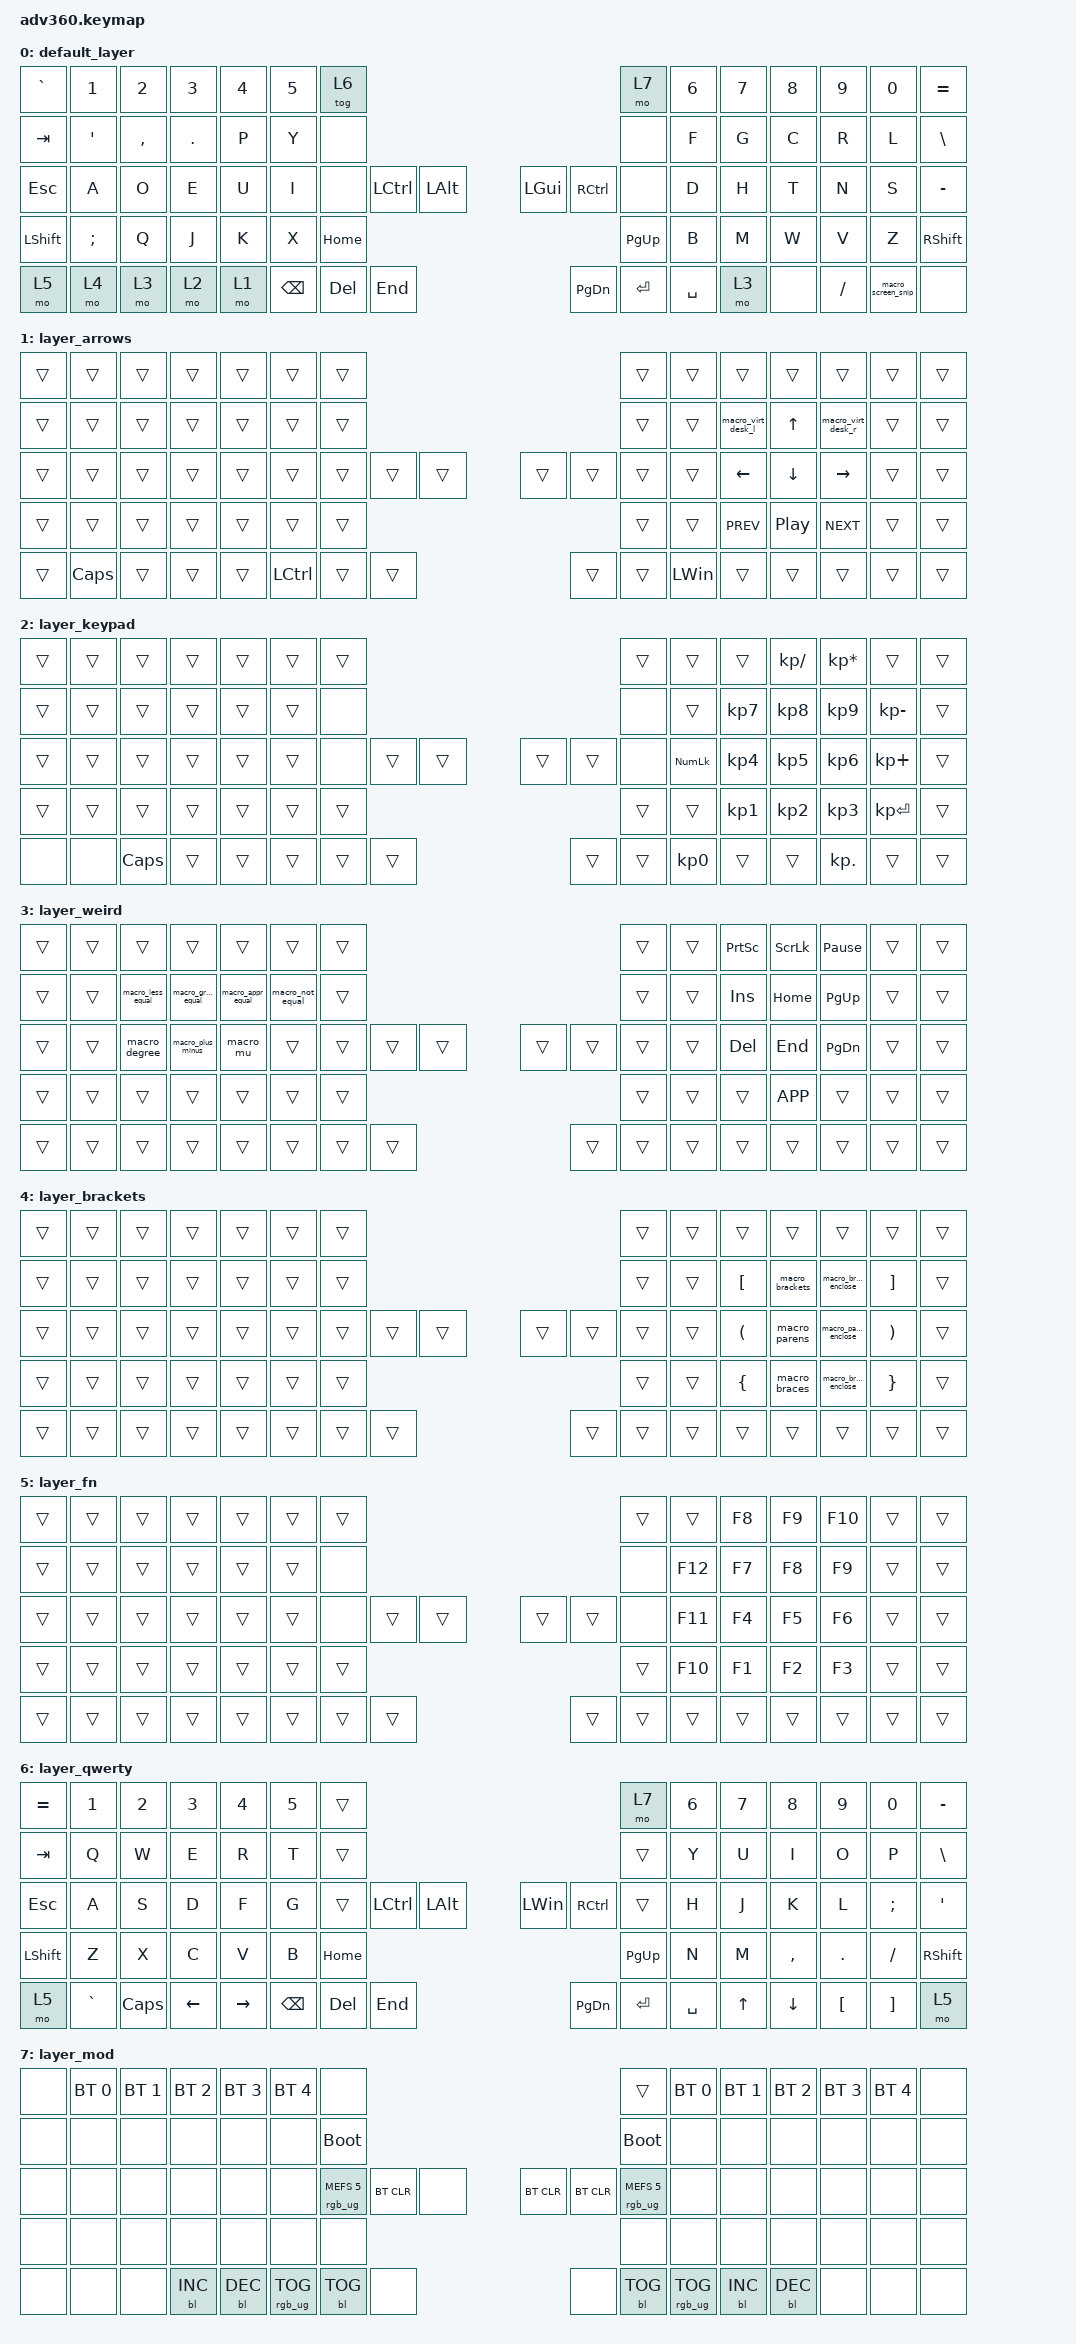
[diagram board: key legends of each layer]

/*
 * Copyright (c) 2020 The ZMK Contributors
 *
 * SPDX-License-Identifier: MIT
 */


/* THIS FILE WAS GENERATED!
 *
 * This file was generated automatically. You may or may not want to
 * edit it directly.
 */

#include <behaviors.dtsi>
#include <dt-bindings/zmk/keys.h>
#include <dt-bindings/zmk/bt.h>
#include <dt-bindings/zmk/rgb.h>
#include <dt-bindings/zmk/backlight.h>

/ {
  behaviors {
    #include "macros.dtsi"
      #include "version.dtsi"
      #ifndef VERSION_MACRO
      macro_ver: macro_ver {
        compatible = "zmk,behavior-macro";
        label = "macro_version";
        #binding-cells = <0>;
        bindings = <&kp RET>;
      };
      #endif

    hm: homerow_mods {
        compatible = "zmk,behavior-hold-tap";
        label = "HOMEROW_MODS";
        #binding-cells = <2>;
        tapping-term-ms = <200>;
        quick_tap_ms = <175>;
        flavor = "tap-preferred";
        bindings = <&kp>, <&kp>;
    };
  };

    keymap {
        compatible = "zmk,keymap";


        default_layer {
            bindings = <
&kp GRAVE         &kp N1    &kp N2     &kp N3 &kp N4 &kp N5   &tog 6                                                        &mo 7 &kp N6 &kp N7 &kp N8    &kp N9             &kp N0 &kp EQUAL 
  &kp TAB &kp APOSTROPHE &kp COMMA &kp PERIOD  &kp P  &kp Y    &none                                                        &none  &kp F  &kp G  &kp C     &kp R              &kp L  &kp BSLH 
  &kp ESC          &kp A     &kp O      &kp E  &kp U  &kp I    &none &kp LCTRL &kp LALT              &kp LGUI &kp RCTRL     &none  &kp D  &kp H  &kp T     &kp N              &kp S &kp MINUS 
&kp LSHFT  &kp SEMICOLON     &kp Q      &kp J  &kp K  &kp X                    &kp HOME             &kp PG_UP                      &kp B  &kp M  &kp W     &kp V              &kp Z &kp RSHFT 
    &mo 5          &mo 4     &mo 3      &mo 2  &mo 1        &kp BSPC   &kp DEL  &kp END             &kp PG_DN &kp ENTER &kp SPACE         &mo 3  &none &kp SLASH &macro_screen_snip     &none 
            >;
        };

        layer_arrows {
            bindings = <
&trans       &trans &trans &trans &trans &trans    &trans                                                 &trans &trans             &trans           &trans             &trans &trans &trans 
&trans       &trans &trans &trans &trans &trans    &trans                                                 &trans &trans &macro_virt_desk_l     &kp UP_ARROW &macro_virt_desk_r &trans &trans 
&trans       &trans &trans &trans &trans &trans    &trans &trans &trans               &trans &trans       &trans &trans     &kp LEFT_ARROW   &kp DOWN_ARROW    &kp RIGHT_ARROW &trans &trans 
&trans       &trans &trans &trans &trans &trans                  &trans               &trans                     &trans         &kp C_PREV &kp C_PLAY_PAUSE         &kp C_NEXT &trans &trans 
&trans &kp CAPSLOCK &trans &trans &trans        &kp LCTRL &trans &trans               &trans &trans &kp LEFT_WIN                    &trans           &trans             &trans &trans &trans 
            >;
        };

        layer_keypad {
            bindings = <
 &trans &trans   &trans &trans &trans &trans &trans                                            &trans         &trans          &trans &kp KP_DIVIDE &kp KP_MULTIPLY       &trans &trans 
 &trans &trans   &trans &trans &trans &trans  &none                                             &none         &trans &kp KP_NUMBER_7     &kp KP_N8       &kp KP_N9 &kp KP_MINUS &trans 
 &trans &trans   &trans &trans &trans &trans  &none &trans &trans             &trans &trans     &none &kp KP_NUMLOCK       &kp KP_N4     &kp KP_N5       &kp KP_N6  &kp KP_PLUS &trans 
 &trans &trans   &trans &trans &trans &trans               &trans             &trans                          &trans       &kp KP_N1     &kp KP_N2       &kp KP_N3 &kp KP_ENTER &trans 
  &none  &none &kp CAPS &trans &trans        &trans &trans &trans             &trans &trans &kp KP_N0                         &trans        &trans      &kp KP_DOT       &trans &trans 
            >;
        };

        layer_weird {
            bindings = <
 &trans &trans            &trans             &trans            &trans           &trans &trans                                           &trans &trans &kp PRINTSCREEN &kp SCROLLLOCK &kp PAUSE_BREAK &trans &trans 
 &trans &trans &macro_less_equal &macro_great_equal &macro_appr_equal &macro_not_equal &trans                                           &trans &trans      &kp INSERT       &kp HOME     &kp PAGE_UP &trans &trans 
 &trans &trans     &macro_degree  &macro_plus_minus         &macro_mu           &trans &trans &trans &trans               &trans &trans &trans &trans         &kp DEL        &kp END   &kp PAGE_DOWN &trans &trans 
 &trans &trans            &trans             &trans            &trans           &trans               &trans               &trans               &trans          &trans      &kp K_APP          &trans &trans &trans 
 &trans &trans            &trans             &trans            &trans                  &trans &trans &trans               &trans &trans &trans                 &trans         &trans          &trans &trans &trans 
            >;
        };

        layer_brackets {
            bindings = <
 &trans &trans &trans &trans &trans &trans &trans                                           &trans &trans               &trans          &trans                 &trans                &trans &trans 
 &trans &trans &trans &trans &trans &trans &trans                                           &trans &trans     &kp LEFT_BRACKET &macro_brackets &macro_bracket_enclose     &kp RIGHT_BRACKET &trans 
 &trans &trans &trans &trans &trans &trans &trans &trans &trans               &trans &trans &trans &trans &kp LEFT_PARENTHESIS   &macro_parens   &macro_paren_enclose &kp RIGHT_PARENTHESIS &trans 
 &trans &trans &trans &trans &trans &trans               &trans               &trans               &trans       &kp LEFT_BRACE   &macro_braces   &macro_brace_enclose       &kp RIGHT_BRACE &trans 
 &trans &trans &trans &trans &trans        &trans &trans &trans               &trans &trans &trans                      &trans          &trans                 &trans                &trans &trans 
            >;
        };

        layer_fn {
            bindings = <
 &trans &trans &trans &trans &trans &trans &trans                                         &trans  &trans &kp F8 &kp F9 &kp F10 &trans &trans 
 &trans &trans &trans &trans &trans &trans  &none                                          &none &kp F12 &kp F7 &kp F8  &kp F9 &trans &trans 
 &trans &trans &trans &trans &trans &trans  &none &trans &trans             &trans &trans  &none &kp F11 &kp F4 &kp F5  &kp F6 &trans &trans 
 &trans &trans &trans &trans &trans &trans               &trans             &trans               &kp F10 &kp F1 &kp F2  &kp F3 &trans &trans 
 &trans &trans &trans &trans &trans        &trans &trans &trans             &trans &trans &trans         &trans &trans  &trans &trans &trans 
            >;
        };

        layer_qwerty {
            bindings = <
      &kp EQUAL &kp NUMBER_1 &kp NUMBER_2 &kp NUMBER_3 &kp NUMBER_4 &kp NUMBER_5        &trans                                                                  &mo 7 &kp NUMBER_6 &kp NUMBER_7 &kp NUMBER_8     &kp NUMBER_9      &kp NUMBER_0       &kp MINUS 
        &kp TAB        &kp Q        &kp W        &kp E        &kp R        &kp T        &trans                                                                 &trans        &kp Y        &kp U        &kp I            &kp O             &kp P   &kp BACKSLASH 
        &kp ESC        &kp A        &kp S        &kp D        &kp F        &kp G        &trans  &kp LCTRL &kp LEFT_ALT               &kp LEFT_WIN &kp RCTRL    &trans        &kp H        &kp J        &kp K            &kp L     &kp SEMICOLON  &kp APOSTROPHE 
 &kp LEFT_SHIFT        &kp Z        &kp X        &kp C        &kp V        &kp B                              &kp HOME                  &kp PG_UP                            &kp N        &kp M    &kp COMMA       &kp PERIOD         &kp SLASH &kp RIGHT_SHIFT 
          &mo 5    &kp GRAVE &kp CAPSLOCK     &kp LEFT    &kp RIGHT              &kp BACKSPACE &kp DELETE      &kp END                  &kp PG_DN &kp ENTER &kp SPACE                    &kp UP     &kp DOWN &kp LEFT_BRACKET &kp RIGHT_BRACKET           &mo 5 
            >;
        };

        layer_mod {
            bindings = <
 &none &bt BT_SEL 0 &bt BT_SEL 1 &bt BT_SEL 2 &bt BT_SEL 3 &bt BT_SEL 4                  &none                                                                    &trans &bt BT_SEL 0 &bt BT_SEL 1 &bt BT_SEL 2 &bt BT_SEL 3 &bt BT_SEL 4 &none 
 &none        &none        &none        &none        &none        &none            &bootloader                                                               &bootloader        &none        &none        &none        &none        &none &none 
 &none        &none        &none        &none        &none        &none &rgb_ug RGB_MEFS_CMD 5 &bt BT_CLR &none             &bt BT_CLR &bt BT_CLR &rgb_ug RGB_MEFS_CMD 5        &none        &none        &none        &none        &none &none 
 &none        &none        &none        &none        &none        &none                                   &none                  &none                                          &none        &none        &none        &none        &none &none 
 &none        &none        &none   &bl BL_INC   &bl BL_DEC                     &rgb_ug RGB_TOG &bl BL_TOG &none                  &none &bl BL_TOG        &rgb_ug RGB_TOG                &bl BL_INC   &bl BL_DEC        &none        &none &none 
            >;
        };

    };
};
